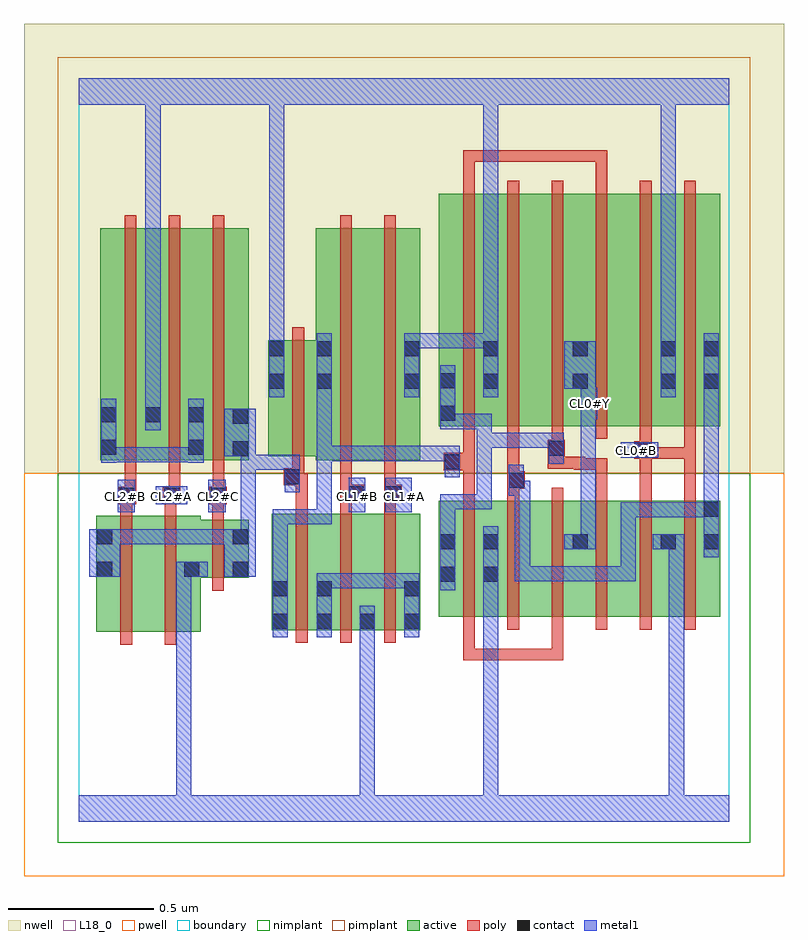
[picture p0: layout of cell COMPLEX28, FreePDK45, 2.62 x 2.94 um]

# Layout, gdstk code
import gdstk
lib = gdstk.Library(unit=1e-6, precision=1e-09)
def R(c, l, rs):  # rectangles x0, y0, x1, y1
    for r in rs: c.add(gdstk.rectangle(r[:2], r[2:], *l))
def A(c, l, x, y, w, h, nx, ny, dx, dy):  # array of equal rectangles
    R(c, l, [(x+i*dx, y+j*dy, x+i*dx+w, y+j*dy+h) for i in range(nx) for j in range(ny)])
active = (1, 0)
pwell = (2, 0)
nwell = (3, 0)
nimplant = (4, 0)
pimplant = (5, 0)
poly = (9, 0)
contact = (10, 0)
metal1 = (11, 0)
L18_0 = (18, 0)
boundary = (235, 0)

complex28 = lib.new_cell('COMPLEX28')
R(complex28, active, [(0.06,0.654,0.24,1.054), (0.24,0.654,0.42,1.054), (0.664,0.66,0.724,1.06), (0.664,0.66,0.876,1.06), (0.816,0.66,1.024,1.06), (0.816,0.66,0.876,1.06), (0.964,0.66,1.024,1.06), (0.964,0.66,1.176,1.06), (1.116,0.66,1.176,1.06), (1.24,0.706,1.448,1.106), (1.24,0.706,1.3,1.106), (1.388,0.706,1.448,1.106), (1.388,0.706,1.572,1.106), (1.572,0.706,1.756,1.106), (1.696,0.706,1.876,1.106), (1.876,0.706,2.06,1.106), (2,0.706,2.208,1.106), (2,0.706,2.06,1.106), (0.06,0.756,0.12,1.054), (1.696,0.756,1.756,1.106), (2.148,0.756,2.208,1.106), (0.36,0.84,0.586,1.04), (0.36,0.84,0.42,0.9), (0.526,0.84,0.586,1.04), (0.074,1.244,0.134,2.044), (0.074,1.244,0.286,2.044), (0.226,1.244,0.434,2.044), (0.374,1.244,0.434,2.044), (0.374,1.244,0.586,2.044), (0.526,1.244,0.586,2.044), (0.816,1.244,0.996,2.044), (0.996,1.244,1.176,2.044), (1.116,1.244,1.176,2.044), (0.652,1.258,0.712,1.658), (0.652,1.258,0.876,1.658), (0.816,1.258,0.876,2.044), (0.226,1.338,0.286,2.044), (1.24,1.362,1.3,2.044), (1.24,1.362,1.448,2.162), (1.388,1.362,1.448,2.162), (1.388,1.362,1.572,2.162), (1.572,1.362,1.756,2.162), (1.696,1.362,1.756,2.162), (1.696,1.362,1.876,2.162), (1.876,1.362,2.06,2.162), (2,1.362,2.208,2.162), (2,1.362,2.06,2.162), (2.148,1.362,2.208,2.044)])
R(complex28, pwell, [(-0.188,-0.188,2.428,1.2)])
R(complex28, nwell, [(-0.188,1.2,2.428,2.748)])
R(complex28, nimplant, [(-0.072,-0.072,2.312,1.2)])
R(complex28, pimplant, [(-0.072,1.2,2.312,2.632)])
A(complex28, poly, 0.748, 0.616, 0.04, 0.488, 3, 1, 0.152, 0)
A(complex28, poly, 1.324, 0.662, 0.04, 0.488, 6, 1, 0.152, 0)
A(complex28, poly, 0.158, 1.114, 0.04, 0.126, 3, 1, 0.152, 0)
A(complex28, poly, 0.158, 1.2, 0.04, 0.888, 3, 1, 0.152, 0)
A(complex28, poly, 1.324, 1.318, 0.04, 0.888, 6, 1, 0.152, 0)
R(complex28, poly, [(1.324,0.556,1.364,0.596), (1.324,0.556,1.364,0.596), (1.324,0.556,1.364,0.596), (1.324,0.556,1.364,0.702), (1.324,0.556,1.548,0.596), (1.508,0.556,1.548,0.596), (1.508,0.556,1.548,0.596), (1.508,0.556,1.548,0.596), (1.508,0.556,1.668,0.596), (1.628,0.556,1.668,0.596), (1.628,0.556,1.668,0.702), (0.144,0.61,0.184,1.098), (0.296,0.61,0.336,1.098), (0.46,0.796,0.5,1.084), (0.46,1.044,0.5,1.134), (0.144,1.058,0.184,1.134), (0.296,1.058,0.336,1.134), (0.748,1.064,0.788,1.198), (0.9,1.064,0.94,1.14), (1.052,1.064,1.092,1.14), (0.138,1.094,0.198,1.154), (0.144,1.094,0.184,1.134), (0.144,1.094,0.184,1.134), (0.29,1.094,0.35,1.154), (0.45,1.094,0.51,1.154), (0.9,1.1,0.986,1.16), (1.052,1.1,1.112,1.16), (1.324,1.11,1.364,1.25), (1.476,1.11,1.516,1.186), (1.78,1.11,1.82,1.252), (1.932,1.11,1.972,1.29), (2.084,1.11,2.124,1.29), (0.31,1.114,0.35,1.154), (0.31,1.114,0.35,1.154), (0.462,1.114,0.502,1.154), (0.462,1.114,0.502,1.154), (0.9,1.12,0.94,1.16), (0.9,1.12,0.94,1.16), (0.9,1.12,0.94,1.24), (1.052,1.12,1.092,1.16), (1.052,1.12,1.092,1.16), (1.052,1.12,1.092,1.24), (1.476,1.146,1.536,1.206), (0.706,1.158,0.776,1.218), (0.736,1.158,0.776,1.198), (0.736,1.158,0.788,1.198), (1.476,1.166,1.516,1.206), (1.476,1.166,1.516,1.206), (1.476,1.166,1.516,1.358), (0.736,1.178,0.776,1.254), (0.9,1.2,0.94,2.088), (1.052,1.2,1.092,2.088), (1.256,1.21,1.364,1.27), (1.324,1.21,1.364,1.25), (1.324,1.21,1.364,1.25), (1.704,1.212,1.82,1.252), (1.704,1.212,1.744,1.256), (1.78,1.212,1.82,1.252), (1.78,1.212,1.82,1.252), (1.78,1.212,1.82,1.252), (0.736,1.214,0.776,1.702), (1.614,1.216,1.674,1.316), (1.634,1.216,1.744,1.256), (1.324,1.23,1.364,1.358), (1.912,1.25,1.972,1.31), (1.932,1.25,1.972,1.29), (1.932,1.25,1.972,1.29), (1.932,1.25,1.972,1.29), (1.932,1.25,1.972,1.29), (1.932,1.25,2.124,1.29), (2.084,1.25,2.124,1.358), (2.084,1.25,2.124,1.29), (2.084,1.25,2.124,1.29), (2.084,1.25,2.124,1.29), (1.932,1.27,1.972,1.358), (1.628,1.276,1.668,1.358), (1.324,2.166,1.364,2.312), (1.78,2.166,1.82,2.312), (1.324,2.272,1.364,2.312), (1.324,2.272,1.364,2.312), (1.324,2.272,1.364,2.312), (1.324,2.272,1.548,2.312), (1.508,2.272,1.548,2.312), (1.508,2.272,1.548,2.312), (1.508,2.272,1.548,2.312), (1.508,2.272,1.654,2.312), (1.614,2.272,1.654,2.312), (1.614,2.272,1.654,2.312), (1.614,2.272,1.654,2.312), (1.614,2.272,1.82,2.312), (1.78,2.272,1.82,2.312)])
R(complex28, contact, [(0.668,0.664,0.72,0.716), (0.82,0.664,0.872,0.716), (0.968,0.664,1.02,0.716), (1.12,0.664,1.172,0.716), (0.668,0.776,0.72,0.828), (0.82,0.776,0.872,0.828), (1.12,0.776,1.172,0.828), (1.244,0.826,1.296,0.878), (1.392,0.826,1.444,0.878), (0.064,0.844,0.116,0.896), (0.364,0.844,0.416,0.896), (0.53,0.844,0.582,0.896), (1.244,0.938,1.296,0.99), (1.392,0.938,1.444,0.99), (1.7,0.938,1.752,0.99), (2.004,0.938,2.056,0.99), (2.152,0.938,2.204,0.99), (0.064,0.956,0.116,1.008), (0.53,0.956,0.582,1.008), (2.152,1.05,2.204,1.102), (0.142,1.098,0.194,1.15), (0.294,1.098,0.346,1.15), (0.454,1.098,0.506,1.15), (0.93,1.104,0.982,1.156), (1.056,1.104,1.108,1.156), (1.48,1.15,1.532,1.202), (0.71,1.162,0.762,1.214), (1.26,1.214,1.312,1.266), (1.916,1.254,1.968,1.306), (0.53,1.258,0.582,1.31), (1.618,1.26,1.67,1.312), (0.078,1.264,0.13,1.316), (0.378,1.264,0.43,1.316), (0.53,1.37,0.582,1.422), (0.078,1.376,0.13,1.428), (0.23,1.376,0.282,1.428), (0.378,1.376,0.43,1.428), (1.244,1.38,1.296,1.432), (0.656,1.49,0.708,1.542), (0.82,1.49,0.872,1.542), (1.12,1.49,1.172,1.542), (1.392,1.49,1.444,1.542), (1.7,1.49,1.752,1.542), (2.004,1.49,2.056,1.542), (2.152,1.49,2.204,1.542), (1.244,1.492,1.296,1.544), (0.656,1.602,0.708,1.654), (0.82,1.602,0.872,1.654), (1.12,1.602,1.172,1.654), (1.392,1.602,1.444,1.654), (1.7,1.602,1.752,1.654), (2.004,1.602,2.056,1.654), (2.152,1.602,2.204,1.654)])
R(complex28, metal1, [(0,0,2.24,0.092), (0.336,0.04,0.388,0.092), (0.336,0.04,0.388,0.092), (0.336,0.04,0.388,0.896), (0.968,0.04,1.02,0.092), (0.968,0.04,1.02,0.092), (0.968,0.04,1.02,0.092), (0.968,0.04,1.02,0.092), (0.968,0.04,1.02,0.092), (0.968,0.04,1.02,0.092), (0.968,0.04,1.02,0.092), (0.968,0.04,1.02,0.092), (0.968,0.04,1.02,0.092), (0.968,0.04,1.02,0.092), (0.968,0.04,1.02,0.092), (0.968,0.04,1.02,0.092), (0.968,0.04,1.02,0.688), (1.392,0.04,1.444,0.092), (1.392,0.04,1.444,0.092), (1.392,0.04,1.444,0.092), (1.392,0.04,1.444,0.092), (1.392,0.04,1.444,0.092), (1.392,0.04,1.444,0.092), (1.392,0.04,1.444,0.092), (1.392,0.04,1.444,0.092), (1.392,0.04,1.444,0.092), (1.392,0.04,1.444,0.092), (1.392,0.04,1.444,0.092), (1.392,0.04,1.444,0.092), (1.392,0.04,1.444,0.85), (2.032,0.04,2.084,0.092), (2.032,0.04,2.084,0.092), (2.032,0.04,2.084,0.092), (2.032,0.04,2.084,0.092), (2.032,0.04,2.084,0.092), (2.032,0.04,2.084,0.092), (2.032,0.04,2.084,0.092), (2.032,0.04,2.084,0.092), (2.032,0.04,2.084,0.092), (2.032,0.04,2.084,0.092), (2.032,0.04,2.084,0.092), (2.032,0.04,2.084,0.092), (2.032,0.04,2.084,0.99), (0.668,0.636,0.72,0.856), (0.82,0.636,0.872,0.856), (0.968,0.636,1.02,0.744), (1.12,0.636,1.172,0.856), (1.244,0.798,1.296,1.018), (1.392,0.798,1.444,1.018), (0.668,0.804,0.72,1.076), (0.82,0.804,0.872,0.856), (0.82,0.804,0.872,0.856), (0.82,0.804,1.062,0.856), (1.01,0.804,1.062,0.856), (1.01,0.804,1.062,0.856), (1.01,0.804,1.062,0.856), (1.01,0.804,1.172,0.856), (1.502,0.828,1.554,0.88), (1.502,0.828,1.67,0.88), (1.502,0.828,1.554,1.174), (1.618,0.828,1.67,0.88), (1.618,0.828,1.78,0.88), (1.728,0.828,1.78,0.88), (1.728,0.828,1.78,0.88), (1.728,0.828,1.78,0.88), (1.728,0.828,1.918,0.88), (1.866,0.828,1.918,0.88), (1.866,0.828,1.918,1.1), (0.036,0.844,0.144,1.008), (0.336,0.844,0.388,0.896), (0.336,0.844,0.388,0.896), (0.336,0.844,0.388,0.896), (0.336,0.844,0.388,0.896), (0.336,0.844,0.388,0.896), (0.336,0.844,0.388,0.896), (0.336,0.844,0.388,0.896), (0.336,0.844,0.388,0.896), (0.336,0.844,0.388,0.896), (0.336,0.844,0.388,0.896), (0.336,0.844,0.444,0.896), (0.502,0.844,0.61,1.008), (2.152,0.91,2.204,1.13), (1.672,0.938,1.78,0.99), (1.728,0.938,1.78,1.438), (1.976,0.938,2.084,0.99), (0.092,0.956,0.144,1.008), (0.092,0.956,0.144,1.008), (0.092,0.956,0.266,1.008), (0.214,0.956,0.266,1.008), (0.214,0.956,0.266,1.008), (0.214,0.956,0.266,1.008), (0.214,0.956,0.376,1.008), (0.324,0.956,0.376,1.008), (0.324,0.956,0.376,1.008), (0.324,0.956,0.376,1.008), (0.324,0.956,0.554,1.008), (0.558,0.956,0.61,1.008), (0.558,0.956,0.61,1.008), (0.558,0.956,0.61,1.264), (1.244,0.966,1.296,1.128), (0.668,1.024,0.72,1.076), (0.668,1.024,0.72,1.076), (0.668,1.024,0.72,1.076), (0.668,1.024,0.872,1.076), (0.82,1.024,0.872,1.076), (0.82,1.024,0.872,1.294), (1.866,1.048,1.918,1.1), (1.866,1.048,1.918,1.1), (1.866,1.048,1.918,1.1), (1.866,1.048,2.028,1.1), (1.976,1.048,2.028,1.1), (1.976,1.048,2.204,1.1), (2.152,1.048,2.204,1.1), (2.152,1.048,2.204,1.1), (0.134,1.066,0.194,1.178), (0.446,1.066,0.506,1.178), (0.93,1.066,0.986,1.184), (1.056,1.066,1.146,1.184), (1.244,1.076,1.296,1.128), (1.244,1.076,1.296,1.128), (1.244,1.076,1.296,1.128), (1.244,1.076,1.422,1.128), (1.37,1.076,1.422,1.128), (1.37,1.076,1.422,1.34), (2.152,1.078,2.204,1.514), (0.266,1.094,0.374,1.156), (1.48,1.122,1.532,1.23), (1.48,1.122,1.554,1.174), (1.502,1.122,1.554,1.174), (1.502,1.122,1.554,1.174), (1.502,1.122,1.554,1.174), (0.71,1.134,0.762,1.242), (1.26,1.186,1.312,1.294), (0.71,1.19,0.762,1.242), (0.71,1.19,0.762,1.264), (0.558,1.212,0.61,1.264), (0.558,1.212,0.762,1.264), (0.558,1.212,0.61,1.31), (1.618,1.232,1.67,1.34), (0.078,1.236,0.13,1.456), (0.378,1.236,0.43,1.456), (0.078,1.238,0.13,1.29), (0.078,1.238,0.13,1.29), (0.078,1.238,0.266,1.29), (0.214,1.238,0.266,1.29), (0.214,1.238,0.266,1.29), (0.214,1.238,0.266,1.29), (0.214,1.238,0.43,1.29), (0.82,1.242,0.872,1.294), (0.82,1.242,0.872,1.294), (0.82,1.242,0.872,1.294), (0.82,1.242,0.872,1.514), (0.82,1.242,1.028,1.294), (0.976,1.242,1.028,1.294), (0.976,1.242,1.028,1.294), (0.976,1.242,1.028,1.294), (0.976,1.242,1.172,1.294), (1.12,1.242,1.172,1.294), (1.12,1.242,1.226,1.294), (1.174,1.242,1.226,1.294), (1.174,1.242,1.312,1.294), (1.866,1.254,1.996,1.306), (0.502,1.258,0.61,1.422), (1.37,1.288,1.422,1.34), (1.37,1.288,1.532,1.34), (1.37,1.288,1.422,1.404), (1.48,1.288,1.532,1.34), (1.48,1.288,1.532,1.34), (1.48,1.288,1.532,1.34), (1.48,1.288,1.67,1.34), (0.23,1.348,0.282,1.456), (1.244,1.352,1.296,1.404), (1.244,1.352,1.296,1.404), (1.244,1.352,1.296,1.572), (1.244,1.352,1.422,1.404), (1.37,1.352,1.422,1.404), (1.728,1.386,1.786,1.494), (0.23,1.404,0.282,2.52), (1.728,1.442,1.78,1.494), (1.728,1.442,1.78,1.494), (1.728,1.442,1.78,1.542), (0.656,1.462,0.708,1.682), (0.82,1.462,0.872,1.682), (1.12,1.462,1.172,1.682), (1.392,1.462,1.444,1.682), (2.004,1.462,2.056,1.682), (2.152,1.462,2.204,1.514), (2.152,1.462,2.204,1.514), (2.152,1.462,2.204,1.514), (2.152,1.462,2.204,1.514), (2.152,1.462,2.204,1.682), (1.672,1.49,1.78,1.654), (0.656,1.63,0.708,2.52), (1.12,1.63,1.282,1.682), (1.23,1.63,1.282,1.682), (1.23,1.63,1.282,1.682), (1.23,1.63,1.282,1.682), (1.23,1.63,1.444,1.682), (1.392,1.63,1.444,2.52), (2.004,1.63,2.056,2.52), (0,2.468,2.24,2.56), (0.23,2.468,0.282,2.52), (0.23,2.468,0.282,2.52), (0.23,2.468,0.282,2.52), (0.23,2.468,0.282,2.52), (0.23,2.468,0.282,2.52), (0.23,2.468,0.282,2.52), (0.23,2.468,0.282,2.52), (0.23,2.468,0.282,2.52), (0.656,2.468,0.708,2.52), (0.656,2.468,0.708,2.52), (0.656,2.468,0.708,2.52), (0.656,2.468,0.708,2.52), (0.656,2.468,0.708,2.52), (0.656,2.468,0.708,2.52), (0.656,2.468,0.708,2.52), (0.656,2.468,0.708,2.52), (0.656,2.468,0.708,2.52), (0.656,2.468,0.708,2.52), (0.656,2.468,0.708,2.52), (0.656,2.468,0.708,2.52), (0.656,2.468,0.708,2.52), (0.656,2.468,0.708,2.52), (0.656,2.468,0.708,2.52), (0.656,2.468,0.708,2.52), (1.392,2.468,1.444,2.52), (1.392,2.468,1.444,2.52), (1.392,2.468,1.444,2.52), (1.392,2.468,1.444,2.52), (1.392,2.468,1.444,2.52), (1.392,2.468,1.444,2.52), (1.392,2.468,1.444,2.52), (1.392,2.468,1.444,2.52), (2.004,2.468,2.056,2.52), (2.004,2.468,2.056,2.52), (2.004,2.468,2.056,2.52), (2.004,2.468,2.056,2.52), (2.004,2.468,2.056,2.52), (2.004,2.468,2.056,2.52), (2.004,2.468,2.056,2.52), (2.004,2.468,2.056,2.52)])
A(complex28, L18_0, 0.134, 1.094, 0.052, 0.052, 3, 1, 0.16, 0)
R(complex28, L18_0, [(0,0,2.24,0.092), (0.336,0.04,0.388,0.092), (0.336,0.04,0.388,0.092), (0.336,0.04,0.388,0.896), (0.968,0.04,1.02,0.092), (0.968,0.04,1.02,0.092), (0.968,0.04,1.02,0.092), (0.968,0.04,1.02,0.092), (0.968,0.04,1.02,0.092), (0.968,0.04,1.02,0.092), (0.968,0.04,1.02,0.092), (0.968,0.04,1.02,0.092), (0.968,0.04,1.02,0.092), (0.968,0.04,1.02,0.092), (0.968,0.04,1.02,0.092), (0.968,0.04,1.02,0.092), (0.968,0.04,1.02,0.688), (1.392,0.04,1.444,0.092), (1.392,0.04,1.444,0.092), (1.392,0.04,1.444,0.092), (1.392,0.04,1.444,0.092), (1.392,0.04,1.444,0.092), (1.392,0.04,1.444,0.092), (1.392,0.04,1.444,0.092), (1.392,0.04,1.444,0.092), (1.392,0.04,1.444,0.092), (1.392,0.04,1.444,0.092), (1.392,0.04,1.444,0.092), (1.392,0.04,1.444,0.092), (1.392,0.04,1.444,0.85), (2.032,0.04,2.084,0.092), (2.032,0.04,2.084,0.092), (2.032,0.04,2.084,0.092), (2.032,0.04,2.084,0.092), (2.032,0.04,2.084,0.092), (2.032,0.04,2.084,0.092), (2.032,0.04,2.084,0.092), (2.032,0.04,2.084,0.092), (2.032,0.04,2.084,0.092), (2.032,0.04,2.084,0.092), (2.032,0.04,2.084,0.092), (2.032,0.04,2.084,0.092), (2.032,0.04,2.084,0.99), (0.968,0.636,1.02,0.744), (1.392,0.798,1.444,1.018), (0.336,0.844,0.388,0.896), (0.336,0.844,0.388,0.896), (0.336,0.844,0.388,0.896), (0.336,0.844,0.388,0.896), (0.336,0.844,0.388,0.896), (0.336,0.844,0.388,0.896), (0.336,0.844,0.388,0.896), (0.336,0.844,0.388,0.896), (0.336,0.844,0.388,0.896), (0.336,0.844,0.388,0.896), (0.336,0.844,0.444,0.896), (1.672,0.938,1.78,0.99), (1.728,0.938,1.78,1.438), (1.976,0.938,2.084,0.99), (0.134,1.066,0.194,1.178), (0.446,1.066,0.506,1.178), (0.93,1.066,0.986,1.184), (1.056,1.066,1.146,1.184), (0.266,1.094,0.374,1.156), (0.934,1.094,0.986,1.146), (1.094,1.094,1.146,1.146), (1.866,1.254,1.996,1.306), (1.894,1.254,1.946,1.306), (0.23,1.348,0.282,1.456), (1.728,1.386,1.786,1.494), (0.23,1.404,0.282,2.52), (1.734,1.414,1.786,1.466), (1.728,1.442,1.78,1.494), (1.728,1.442,1.78,1.494), (1.728,1.442,1.78,1.542), (0.656,1.462,0.708,1.682), (1.12,1.462,1.172,1.682), (1.392,1.462,1.444,1.682), (2.004,1.462,2.056,1.682), (1.672,1.49,1.78,1.654), (0.656,1.63,0.708,2.52), (1.12,1.63,1.282,1.682), (1.23,1.63,1.282,1.682), (1.23,1.63,1.282,1.682), (1.23,1.63,1.282,1.682), (1.23,1.63,1.444,1.682), (1.392,1.63,1.444,2.52), (2.004,1.63,2.056,2.52), (0,2.468,2.24,2.56), (0.23,2.468,0.282,2.52), (0.23,2.468,0.282,2.52), (0.23,2.468,0.282,2.52), (0.23,2.468,0.282,2.52), (0.23,2.468,0.282,2.52), (0.23,2.468,0.282,2.52), (0.23,2.468,0.282,2.52), (0.23,2.468,0.282,2.52), (0.656,2.468,0.708,2.52), (0.656,2.468,0.708,2.52), (0.656,2.468,0.708,2.52), (0.656,2.468,0.708,2.52), (0.656,2.468,0.708,2.52), (0.656,2.468,0.708,2.52), (0.656,2.468,0.708,2.52), (0.656,2.468,0.708,2.52), (0.656,2.468,0.708,2.52), (0.656,2.468,0.708,2.52), (0.656,2.468,0.708,2.52), (0.656,2.468,0.708,2.52), (0.656,2.468,0.708,2.52), (0.656,2.468,0.708,2.52), (0.656,2.468,0.708,2.52), (0.656,2.468,0.708,2.52), (1.392,2.468,1.444,2.52), (1.392,2.468,1.444,2.52), (1.392,2.468,1.444,2.52), (1.392,2.468,1.444,2.52), (1.392,2.468,1.444,2.52), (1.392,2.468,1.444,2.52), (1.392,2.468,1.444,2.52), (1.392,2.468,1.444,2.52), (2.004,2.468,2.056,2.52), (2.004,2.468,2.056,2.52), (2.004,2.468,2.056,2.52), (2.004,2.468,2.056,2.52), (2.004,2.468,2.056,2.52), (2.004,2.468,2.056,2.52), (2.004,2.468,2.056,2.52), (2.004,2.468,2.056,2.52)])
R(complex28, boundary, [(0,0,2.24,2.56)])
complex28.add(gdstk.Label('CL0#B', (1.92,1.28), layer=11, texttype=0))
complex28.add(gdstk.Label('CL0#Y', (1.76,1.44), layer=11, texttype=0))
complex28.add(gdstk.Label('CL1#A', (1.12,1.12), layer=11, texttype=0))
complex28.add(gdstk.Label('CL1#B', (0.96,1.12), layer=11, texttype=0))
complex28.add(gdstk.Label('CL2#A', (0.32,1.12), layer=11, texttype=0))
complex28.add(gdstk.Label('CL2#B', (0.16,1.12), layer=11, texttype=0))
complex28.add(gdstk.Label('CL2#C', (0.48,1.12), layer=11, texttype=0))

lib.write_gds('COMPLEX28.gds')
